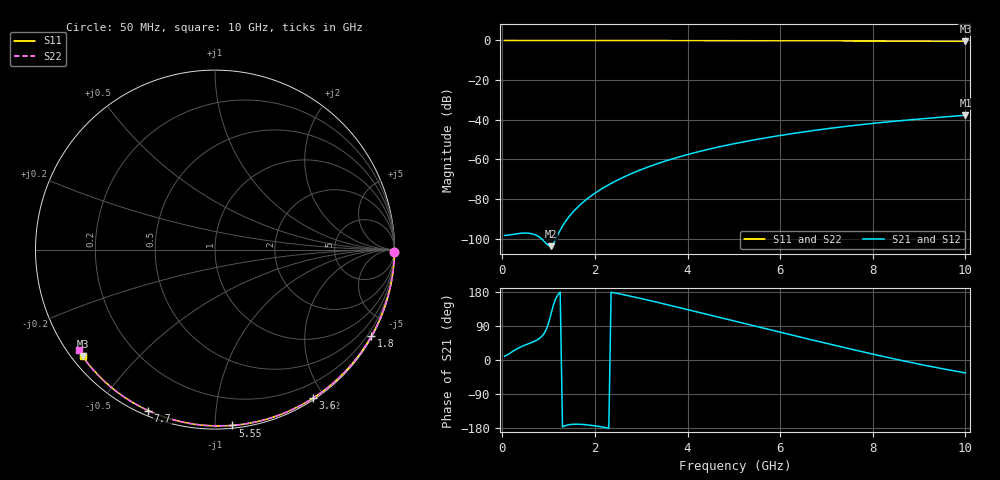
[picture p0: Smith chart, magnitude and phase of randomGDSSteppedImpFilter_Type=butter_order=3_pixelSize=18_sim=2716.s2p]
! freq	dB(S11)	phase(S11)	dB(S12)	phase(S12)
!  dB(S21)	phase(S21)	dB(S22)	phase(S22)
!S-par simulation data
#  GHz  S  DB  R 50
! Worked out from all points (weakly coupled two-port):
!   200 points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, 50 MHz to 10 GHz, reference 50 ohm
!   highest |S21| = -37.72 dB at 10 GHz (marker M1); lowest = -103.7 dB at 1.05 GHz (marker M2)
!   lowest |S11| = -0.5 dB at 10 GHz (marker M3), VSWR 36.87, Z = 1.52 - j17.6 ohm
!   |S11| at or under -10 dB: nowhere
!   |S22| runs from -0.5 to 0.0 dB; largest |S21 - S12| = 0
!   S11 on the Smith chart (normalised r, x): 50 MHz: open; 1.8 GHz: 0.03, -3.87; 3.6 GHz: 0.02, -1.86; 5.55 GHz: 0.02, -1.10; 7.7 GHz: 0.02, -0.67; 10 GHz: 0.03, -0.35
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0.05  -0.00 -0.8  -98.33 10.0  -98.33 10.0  -0.00 -0.8
0.55  -0.01 -9.0  -97.16 42.2  -97.16 42.2  -0.01 -8.9
1.05  -0.02 -17.0  -103.73 120.4  -103.73 120.4  -0.02 -17.0
1.75  -0.04 -28.2  -81.46 -170.2  -81.46 -170.2  -0.04 -28.1
1.8  -0.04 -29.0  -80.49 -170.7  -80.49 -170.7  -0.04 -28.9
1.85  -0.04 -29.8  -79.57 -171.4  -79.57 -171.4  -0.04 -29.7
2.05  -0.04 -32.9  -76.24 -174.7  -76.24 -174.7  -0.04 -32.8
2.2  -0.04 -35.3  -74.07 -177.7  -74.07 -177.7  -0.04 -35.1
2.55  -0.05 -40.7  -69.68 174.1  -69.68 174.1  -0.05 -40.6
2.95  -0.06 -46.8  -65.57 163.5  -65.57 163.5  -0.06 -46.7
3.4  -0.07 -53.6  -61.73 150.7  -61.73 150.7  -0.07 -53.5
3.6  -0.08 -56.6  -60.23 144.9  -60.23 144.9  -0.08 -56.4
3.9  -0.08 -61.0  -58.17 136.0  -58.17 136.0  -0.08 -60.9
4.3  -0.09 -66.8  -55.73 124.0  -55.73 124.0  -0.09 -66.7
5.05  -0.12 -77.5  -51.86 101.5  -51.86 101.5  -0.12 -77.3
5.55  -0.14 -84.4  -49.68 86.6  -49.68 86.6  -0.14 -84.2
6.1  -0.16 -91.8  -47.54 70.3  -47.54 70.3  -0.16 -91.7
6.7  -0.19 -99.7  -45.48 52.7  -45.48 52.7  -0.19 -99.7
7.7  -0.26 -112.6  -42.57 23.9  -42.57 23.9  -0.26 -112.7
8.35  -0.31 -120.7  -40.99 5.9  -40.99 5.9  -0.31 -121.1
9.2  -0.38 -131.3  -39.22 -15.9  -39.22 -15.9  -0.38 -132.3
10  -0.47 -141.2  -37.72 -33.9  -37.72 -33.9  -0.49 -143.6
